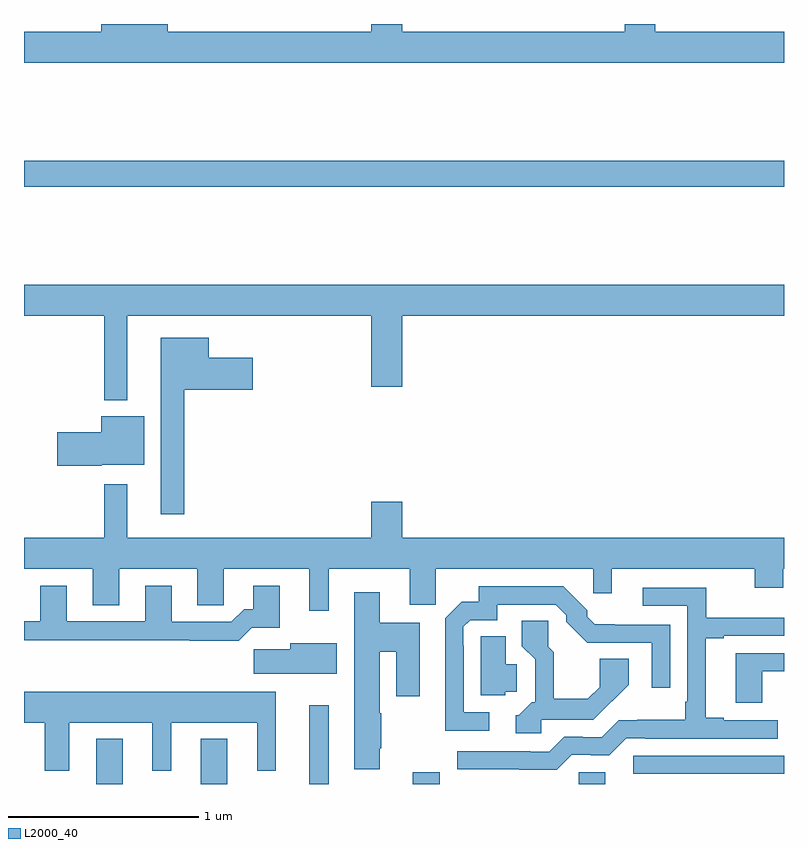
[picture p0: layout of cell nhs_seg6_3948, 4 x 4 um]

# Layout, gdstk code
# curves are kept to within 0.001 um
import gdstk
lib = gdstk.Library(unit=1e-6, precision=1e-09)
def R(c, l, rs):  # rectangles x0, y0, x1, y1
    for r in rs: c.add(gdstk.rectangle(r[:2], r[2:], *l))
def P(c, l, *ps):  # polygons
    for p in ps: c.add(gdstk.Polygon(p, *l))
L2000_40 = (2000, 40)

nhs_seg6_3948 = lib.new_cell('nhs_seg6_3948')
R(nhs_seg6_3948, L2000_40, [(343.379,983.5,343.519,983.737), (343.931,983.5,344.071,983.737), (344.501,983.5,344.605,983.914), (345.047,983.5,345.187,983.563), (345.921,983.5,346.06,983.562), (346.206,983.553,347,983.649), (343,986.644,347,986.78)])
P(nhs_seg6_3948, L2000_40, [(347,987.46),(346.323,987.46),(346.323,987.5),(346.163,987.5),(346.163,987.46),(344.992,987.46),(344.992,987.5),(344.828,987.5),(344.828,987.46),(343.756,987.46),(343.756,987.5),(343.406,987.5),(343.406,987.46),(343,987.46),(343,987.296),(347,987.296)],
  [(343.543,985.964),(344.828,985.964),(344.828,985.59),(344.992,985.59),(344.992,985.964),(347,985.964),(347,986.128),(343,986.128),(343,985.964),(343.422,985.964),(343.422,985.52),(343.543,985.52)],
  [(343.843,985.574),(344.203,985.574),(344.203,985.744),(343.972,985.744),(343.972,985.849),(343.721,985.849),(343.721,984.921),(343.843,984.921)],
  [(343.41,985.181),(343.633,985.181),(343.633,985.435),(343.406,985.435),(343.406,985.352),(343.176,985.352),(343.176,985.174),(343.41,985.174)],
  [(344.605,984.632),(345.029,984.632),(345.029,984.444),(345.167,984.444),(345.167,984.632),(345.997,984.632),(345.997,984.503),(346.093,984.503),(346.093,984.632),(346.847,984.632),(346.847,984.533),(346.995,984.533),(346.995,984.632),(347,984.632),(347,984.796),(344.992,984.796),(344.992,984.985),(344.828,984.985),(344.828,984.796),(343.543,984.796),(343.543,985.078),(343.422,985.078),(343.422,984.796),(343,984.796),(343,984.632),(343.361,984.632),(343.361,984.442),(343.501,984.442),(343.501,984.632),(343.913,984.632),(343.913,984.442),(344.052,984.442),(344.052,984.632),(344.501,984.632),(344.501,984.411),(344.605,984.411)],
  [(344.198,984.323),(344.347,984.323),(344.347,984.544),(344.207,984.544),(344.207,984.421),(344.158,984.421),(344.091,984.354),(343.777,984.354),(343.777,984.544),(343.637,984.544),(343.637,984.357),(343.225,984.357),(343.225,984.544),(343.085,984.544),(343.085,984.357),(343,984.357),(343,984.256),(343.873,984.256),(343.873,984.254),(344.129,984.254)],
  [(345.448,983.877),(345.315,983.877),(345.315,984.227),(345.312,984.227),(345.312,984.327),(345.348,984.363),(345.492,984.363),(345.492,984.444),(345.798,984.444),(345.855,984.387),(345.855,984.353),(345.965,984.243),(346.305,984.243),(346.305,984.006),(346.401,984.006),(346.401,984.339),(346.004,984.34),(345.964,984.381),(345.964,984.415),(345.838,984.54),(345.394,984.54),(345.394,984.46),(345.304,984.46),(345.218,984.373),(345.218,983.781),(345.448,983.781)],
  [(345.882,983.655),(345.983,983.655),(345.983,983.652),(346.08,983.652),(346.17,983.742),(346.27,983.742),(346.27,983.739),(346.966,983.739),(346.966,983.835),(346.684,983.835),(346.684,983.848),(346.588,983.848),(346.588,984.267),(346.684,984.267),(346.684,984.279),(347,984.279),(347,984.376),(346.592,984.376),(346.592,984.534),(346.257,984.534),(346.257,984.438),(346.491,984.438),(346.491,983.932),(346.479,983.932),(346.479,983.839),(346.228,983.839),(346.228,983.835),(346.131,983.835),(346.041,983.745),(345.941,983.745),(345.941,983.748),(345.843,983.748),(345.765,983.67),(345.665,983.67),(345.665,983.673),(345.279,983.673),(345.279,983.577),(345.803,983.576)],
  [(344.872,983.689),(344.88,983.689),(344.88,983.873),(344.872,983.873),(344.872,984.197),(344.96,984.197),(344.96,983.961),(345.082,983.961),(345.082,984.349),(344.872,984.349),(344.872,984.508),(344.738,984.508),(344.738,983.577),(344.872,983.577)],
  [(345.723,983.838),(345.997,983.838),(346.183,984.022),(346.183,984.158),(346.029,984.158),(346.029,984.01),(345.967,983.949),(345.788,983.949),(345.788,984.194),(345.759,984.223),(345.759,984.358),(345.62,984.358),(345.62,984.226),(345.69,984.156),(345.69,983.931),(345.672,983.931),(345.603,983.862),(345.587,983.862),(345.587,983.766),(345.723,983.766)],
  [(345.534,983.985),(345.594,983.985),(345.594,984.131),(345.535,984.131),(345.535,984.278),(345.405,984.278),(345.405,983.966),(345.534,983.966)],
  [(344.647,984.241),(344.402,984.241),(344.402,984.209),(344.208,984.209),(344.208,984.08),(344.647,984.08)],
  [(346.885,984.093),(347,984.093),(347,984.189),(346.745,984.189),(346.745,983.928),(346.885,983.928)],
  [(343.237,983.822),(343.676,983.822),(343.676,983.571),(343.774,983.571),(343.774,983.822),(344.228,983.822),(344.228,983.571),(344.326,983.571),(344.326,983.986),(343,983.986),(343,983.822),(343.109,983.822),(343.109,983.571),(343.237,983.571)])

lib.write_gds('nhs_seg6_3948.gds')
